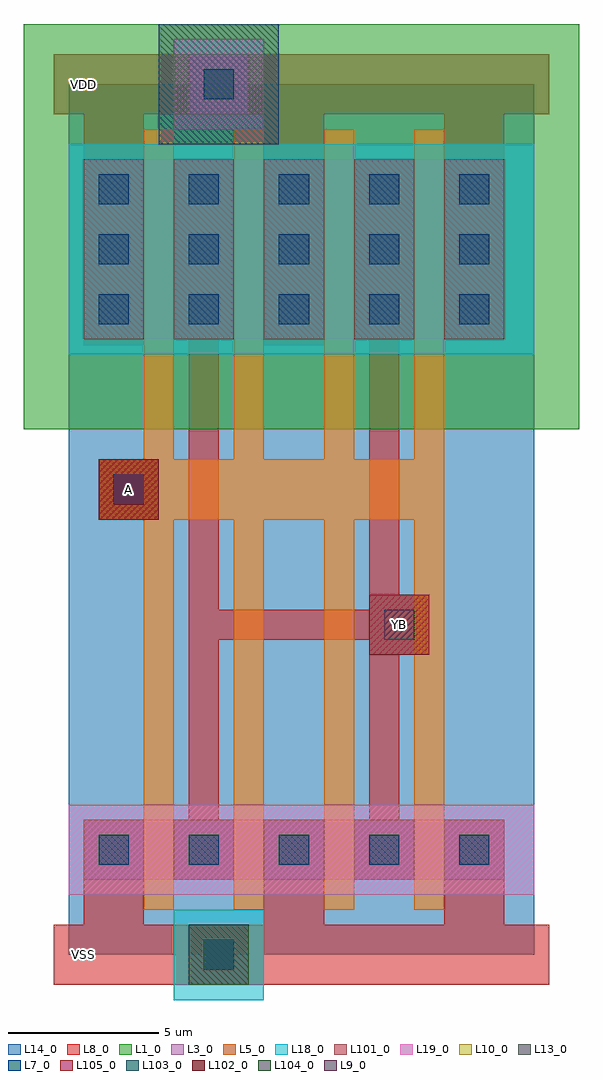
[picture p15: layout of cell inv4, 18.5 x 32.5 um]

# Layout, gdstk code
import gdstk
lib = gdstk.Library(unit=1e-6, precision=1e-09)
def R(c, l, rs):  # rectangles x0, y0, x1, y1
    for r in rs: c.add(gdstk.rectangle(r[:2], r[2:], *l))
L1_0 = (1, 0)
L3_0 = (3, 0)
L5_0 = (5, 0)
L7_0 = (7, 0)
L8_0 = (8, 0)
L9_0 = (9, 0)
L10_0 = (10, 0)
L13_0 = (13, 0)
L14_0 = (14, 0)
L18_0 = (18, 0)
L19_0 = (19, 0)
L101_0 = (101, 0)
L102_0 = (102, 0)
L103_0 = (103, 0)
L104_0 = (104, 0)
L105_0 = (105, 0)

dcont = lib.new_cell('dcont')
R(dcont, L3_0, [(-1,-1,1,1)])
R(dcont, L7_0, [(-0.5,-0.5,0.5,0.5)])
R(dcont, L8_0, [(-1,-1,1,1)])
R(dcont, L13_0, [(-0.5,-0.5,0.5,0.5)])
R(dcont, L101_0, [(-1,-1,1,1)])
dcont.add(gdstk.Label('dcont', (0,0), layer=13, texttype=0))

pcont = lib.new_cell('pcont')
R(pcont, L5_0, [(-1,-1,1,1)])
R(pcont, L7_0, [(-0.5,-0.5,0.5,0.5)])
R(pcont, L8_0, [(-1,-1,1,1)])
R(pcont, L102_0, [(-1,-1,1,1)])
pcont.add(gdstk.Label('pcont', (0,0), layer=13, texttype=0))

nsubcont = lib.new_cell('nsubcont')
R(nsubcont, L1_0, [(-2,-2,2,2)])
R(nsubcont, L19_0, [(-1.5,-1.5,1.5,1.5)])
R(nsubcont, L103_0, [(-2,-2,2,2)])
nsubcont.add(gdstk.Reference(dcont, (0,0)))
nsubcont.add(gdstk.Label('NScont', (0,0), layer=13, texttype=0))

via = lib.new_cell('Via')
R(via, L8_0, [(-1,-1,1,1)])
R(via, L9_0, [(-0.5,-0.5,0.5,0.5)])
R(via, L10_0, [(-1,-1,1,1)])
R(via, L13_0, [(-0.5,-0.5,0.5,0.5)])
R(via, L105_0, [(-1,-1,1,1)])
via.add(gdstk.Label('via', (0,0), layer=13, texttype=0))

psubcont = lib.new_cell('psubcont')
R(psubcont, L18_0, [(-1.5,-1.5,1.5,1.5)])
R(psubcont, L104_0, [(-1,-1,1,1)])
psubcont.add(gdstk.Reference(dcont, (0,0)))
psubcont.add(gdstk.Label('PScon', (0,0), layer=13, texttype=0))

inv4 = lib.new_cell('inv4')
R(inv4, L1_0, [(-1.5,17.5,17,31)])
R(inv4, L3_0, [(0.5,2.5,14.5,4.5), (0.5,20.5,14.5,26.5)])
R(inv4, L8_0, [(-0.5,-1,16,1), (-0.5,-1,16,1), (10,10,12,12), (10,10,12,12), (1,14.5,3,16.5), (1,14.5,3,16.5), (-0.5,28,16,30), (-0.5,28,16,30)])
R(inv4, L10_0, [(10,10,12,12), (10,10,12,12), (1,14.5,3,16.5), (1,14.5,3,16.5)])
R(inv4, L14_0, [(0,0,15.5,29)])
R(inv4, L18_0, [(0,20,15.5,27)])
R(inv4, L19_0, [(0,2,15.5,5)])
R(inv4, L105_0, [(10,10,12,12), (1,14.5,3,16.5)])
inv4.add(gdstk.FlexPath([(6,27),(6,2)], 1, ends="extended", simple_path=True, layer=5, datatype=0))  # L5_0
inv4.add(gdstk.FlexPath([(12,27),(12,2)], 1, ends="extended", simple_path=True, layer=5, datatype=0))  # L5_0
inv4.add(gdstk.FlexPath([(9,2),(9,27)], 1, ends="extended", simple_path=True, layer=5, datatype=0))  # L5_0
inv4.add(gdstk.FlexPath([(3,27),(3,16),(12,16)], 1, ends="extended", simple_path=True, layer=5, datatype=0))  # L5_0
inv4.add(gdstk.FlexPath([(3,2),(3,15),(12,15)], 1, ends="extended", simple_path=True, layer=5, datatype=0))  # L5_0
inv4.add(gdstk.FlexPath([(1.5,0.5),(1.5,3.5)], 2, ends="extended", simple_path=True, layer=8, datatype=0))  # L8_0
inv4.add(gdstk.FlexPath([(1.5,21.3),(1.5,28.5)], 2, ends="extended", simple_path=True, layer=8, datatype=0))  # L8_0
inv4.add(gdstk.FlexPath([(4.5,20.5),(4.5,3.5)], 1, ends="extended", simple_path=True, layer=8, datatype=0))  # L8_0
inv4.add(gdstk.FlexPath([(4.5,22.3),(4.5,25.5)], 1.4, ends="extended", simple_path=True, layer=8, datatype=0))  # L8_0
inv4.add(gdstk.FlexPath([(7.5,21.3),(7.5,28.5)], 2, ends="extended", simple_path=True, layer=8, datatype=0))  # L8_0
inv4.add(gdstk.FlexPath([(7.5,0.5),(7.5,3.5)], 2, ends="extended", simple_path=True, layer=8, datatype=0))  # L8_0
inv4.add(gdstk.FlexPath([(4.5,11),(10.8,11)], 1, ends="extended", simple_path=True, layer=8, datatype=0))  # L8_0
inv4.add(gdstk.FlexPath([(10.5,22.3),(10.5,25.5)], 1.4, ends="extended", simple_path=True, layer=8, datatype=0))  # L8_0
inv4.add(gdstk.FlexPath([(10.5,20.5),(10.5,3.8)], 1, ends="extended", simple_path=True, layer=8, datatype=0))  # L8_0
inv4.add(gdstk.FlexPath([(13.5,21.6),(13.5,28.5)], 2, ends="extended", simple_path=True, layer=8, datatype=0))  # L8_0
inv4.add(gdstk.FlexPath([(13.5,0.5),(13.5,3.5)], 2, ends="extended", simple_path=True, layer=8, datatype=0))  # L8_0
inv4.add(gdstk.Reference(dcont, (13.5,25.5)))
inv4.add(gdstk.Reference(pcont, (2,15.5)))
inv4.add(gdstk.Reference(dcont, (4.5,21.5)))
inv4.add(gdstk.Reference(dcont, (1.5,25.5)))
inv4.add(gdstk.Reference(nsubcont, (5,29)))
inv4.add(gdstk.Reference(via, (11,11)))
inv4.add(gdstk.Reference(dcont, (7.5,25.5)))
inv4.add(gdstk.Reference(dcont, (4.5,25.5)))
inv4.add(gdstk.Reference(dcont, (10.5,3.5)))
inv4.add(gdstk.Reference(dcont, (10.5,23.5)))
inv4.add(gdstk.Reference(psubcont, (5,0)))
inv4.add(gdstk.Reference(dcont, (1.5,21.5)))
inv4.add(gdstk.Reference(dcont, (13.5,21.5)))
inv4.add(gdstk.Reference(dcont, (4.5,3.5)))
inv4.add(gdstk.Reference(via, (2,15.5)))
inv4.add(gdstk.Reference(dcont, (7.5,23.5)))
inv4.add(gdstk.Reference(dcont, (1.5,3.5)))
inv4.add(gdstk.Reference(dcont, (13.5,3.5)))
inv4.add(gdstk.Reference(dcont, (13.5,23.5)))
inv4.add(gdstk.Reference(dcont, (7.5,21.5)))
inv4.add(gdstk.Reference(dcont, (1.5,23.5)))
inv4.add(gdstk.Reference(dcont, (10.5,25.5)))
inv4.add(gdstk.Reference(dcont, (10.5,21.5)))
inv4.add(gdstk.Reference(dcont, (7.5,3.5)))
inv4.add(gdstk.Reference(dcont, (4.5,23.5)))
inv4.add(gdstk.Label('VSS', (0.5,0), layer=8, texttype=0))
inv4.add(gdstk.Label('VDD', (0.5,29), layer=8, texttype=0))
inv4.add(gdstk.Label('YB', (11,11), layer=10, texttype=0))
inv4.add(gdstk.Label('A', (2,15.5), layer=10, texttype=0))

lib.write_gds('inv4.gds')
